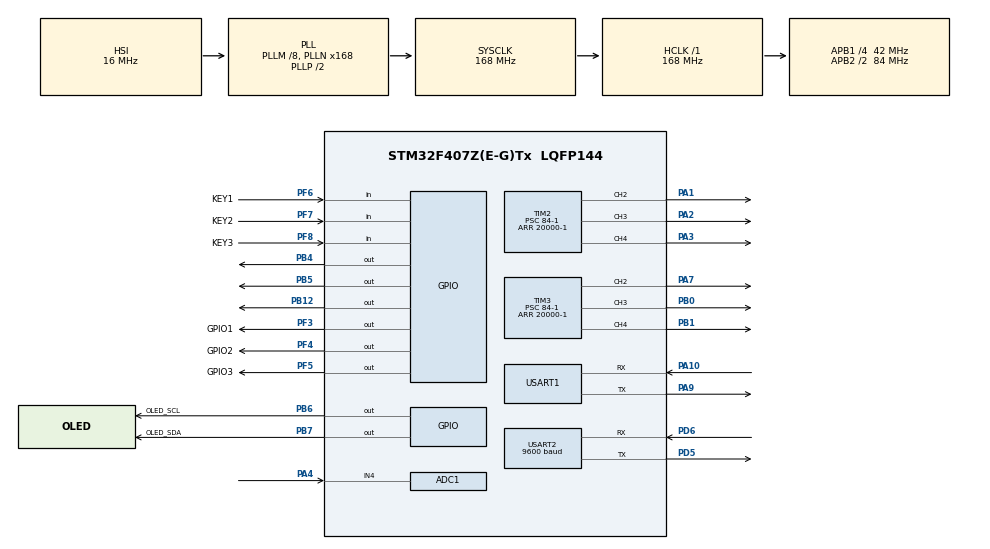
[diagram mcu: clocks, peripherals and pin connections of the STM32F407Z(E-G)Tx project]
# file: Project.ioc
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ADC1.Channel-1\#ChannelRegularConversion=ADC_CHANNEL_4
ADC1.ClockPrescaler=ADC_CLOCK_SYNC_PCLK_DIV4
ADC1.NbrOfConversionFlag=1
ADC1.Rank-1\#ChannelRegularConversion=1
ADC1.SamplingTime-1\#ChannelRegularConversion=ADC_SAMPLETIME_3CYCLES
ADC1.master=1
Mcu.Family=STM32F4
Mcu.Name=STM32F407Z(E-G)Tx
Mcu.Package=LQFP144
NVIC.PriorityGroup=NVIC_PRIORITYGROUP_4
NVIC.TIM6_DAC_IRQn=true\:0\:0\:false\:false\:true\:true\:true\:true
NVIC.USART1_IRQn=true\:0\:0\:false\:false\:true\:true\:true\:true
NVIC.USART2_IRQn=true\:0\:0\:false\:false\:true\:true\:true\:true
PA1.Signal=S_TIM2_CH2
PA10.Mode=Asynchronous
PA10.Signal=USART1_RX
PA13.Mode=Serial_Wire
PA13.Signal=SYS_JTMS-SWDIO
PA14.Mode=Serial_Wire
PA14.Signal=SYS_JTCK-SWCLK
PA2.Signal=S_TIM2_CH3
PA3.Signal=S_TIM2_CH4
PA4.Signal=ADCx_IN4
PA7.Signal=S_TIM3_CH2
PA9.Mode=Asynchronous
PA9.Signal=USART1_TX
PB0.Signal=S_TIM3_CH3
PB1.Signal=S_TIM3_CH4
PB12.Signal=GPIO_Output
PB4.Signal=GPIO_Output
PB5.Signal=GPIO_Output
PB6.GPIO_Label=OLED_SCL
PB6.Signal=GPIO_Output
PB7.GPIO_Label=OLED_SDA
PB7.Signal=GPIO_Output
PD5.Mode=Asynchronous
PD5.Signal=USART2_TX
PD6.Mode=Asynchronous
PD6.Signal=USART2_RX
PF3.GPIO_Label=GPIO1
PF3.Signal=GPIO_Output
PF4.GPIO_Label=GPIO2
PF4.Signal=GPIO_Output
PF5.GPIO_Label=GPIO3
PF5.Signal=GPIO_Output
PF6.GPIO_Label=KEY1
PF6.GPIO_PuPd=GPIO_PULLUP
PF6.Signal=GPIO_Input
PF7.GPIO_Label=KEY2
PF7.GPIO_PuPd=GPIO_PULLUP
PF7.Signal=GPIO_Input
PF8.GPIO_Label=KEY3
PF8.GPIO_PuPd=GPIO_PULLUP
PF8.Signal=GPIO_Input
PH0-OSC_IN.Mode=HSE-External-Oscillator
PH0-OSC_IN.Signal=RCC_OSC_IN
PH1-OSC_OUT.Mode=HSE-External-Oscillator
PH1-OSC_OUT.Signal=RCC_OSC_OUT
ProjectManager.HeapSize=0x200
ProjectManager.StackSize=0x400
ProjectManager.TargetToolchain=MDK-ARM V5.32
RCC.48MHZClocksFreq_Value=84000000
RCC.AHBFreq_Value=168000000
RCC.APB1CLKDivider=RCC_HCLK_DIV4
RCC.APB1Freq_Value=42000000
RCC.APB1TimFreq_Value=84000000
RCC.APB2CLKDivider=RCC_HCLK_DIV2
RCC.APB2Freq_Value=84000000
RCC.APB2TimFreq_Value=168000000
RCC.CortexFreq_Value=168000000
RCC.HCLKFreq_Value=168000000
RCC.HSE_VALUE=25000000
RCC.HSI_VALUE=16000000
RCC.LSE_VALUE=32768
RCC.PLLM=8
RCC.PLLN=168
RCC.SYSCLKFreq_VALUE=168000000
RCC.SYSCLKSource=RCC_SYSCLKSOURCE_PLLCLK
RCC.VCOOutputFreq_Value=336000000
SH.ADCx_IN4.0=ADC1_IN4,IN4
SH.S_TIM2_CH2.0=TIM2_CH2,PWM Generation2 CH2
SH.S_TIM2_CH3.0=TIM2_CH3,PWM Generation3 CH3
SH.S_TIM2_CH4.0=TIM2_CH4,PWM Generation4 CH4
SH.S_TIM3_CH2.0=TIM3_CH2,PWM Generation2 CH2
SH.S_TIM3_CH3.0=TIM3_CH3,PWM Generation3 CH3
SH.S_TIM3_CH4.0=TIM3_CH4,PWM Generation4 CH4
TIM2.Channel-PWM\ Generation2\ CH2=TIM_CHANNEL_2
TIM2.Channel-PWM\ Generation3\ CH3=TIM_CHANNEL_3
TIM2.Channel-PWM\ Generation4\ CH4=TIM_CHANNEL_4
TIM2.Period=20000-1
TIM2.Prescaler=84-1
TIM3.Channel-PWM\ Generation2\ CH2=TIM_CHANNEL_2
TIM3.Channel-PWM\ Generation3\ CH3=TIM_CHANNEL_3
TIM3.Channel-PWM\ Generation4\ CH4=TIM_CHANNEL_4
TIM3.Period=20000-1
TIM3.Prescaler=84-1
TIM6.Period=1000-1
TIM6.Prescaler=168-1
USART1.VirtualMode=VM_ASYNC
USART2.BaudRate=9600
USART2.VirtualMode=VM_ASYNC
VP_TIM2_VS_ClockSourceINT.Mode=Internal
VP_TIM3_VS_ClockSourceINT.Mode=Internal
VP_TIM6_VS_ClockSourceINT.Mode=Enable_Timer
board=custom

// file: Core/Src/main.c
/* USER CODE BEGIN Header */
/**
  ******************************************************************************
  * @file    main.c
  * @brief   主程序入口（初始化外设、启动 TIM6 节拍与 UART 接收，中间件在各模块中运行）
  *
  * 运行逻辑概述：
  *  1) CubeMX 生成的外设初始化（GPIO/TIM/UART 等）
  *  2) 启动 PWM（舵机控制）与 TIM6 1ms 中断（Timer.c）
  *  3) 启动 USART1/USART2 1字节中断接收（UART.c）
  *  4) while(1) 主循环：按键切换模式/触发动作，按 g_data_update_flag 节拍刷新显示
  ******************************************************************************
  */
/* USER CODE END Header */
#include "main.h"
#include "adc.h"
#include "tim.h"
#include "usart.h"
#include "gpio.h"

/* USER CODE BEGIN Includes */
#include "delay.h"
#include "sys.h"
#include "mpu_atk_ms6dsv.h"
#include "Timer.h"
#include "UART.h"
#include "Servo.h"
#include "Key.h"
#include "movement.h"
/* USER CODE END Includes */

/* USER CODE BEGIN PTD */
/* g_data_update_flag：
 * 由 Timer.c 每 10ms 置 1，主循环消费后清零。
 * 这是典型“中断产生节拍 -> 主循环做耗时刷新”的设计模式。
 */
uint8_t g_data_update_flag = 0;
/* USER CODE END PTD */

/* USER CODE BEGIN PD */
#define AUT_MODE        1   // 自动模式
#define MANUAL_MODE     2   // 手动模式
/* USER CODE END PD */

void SystemClock_Config(void);

int main(void)
{

  /* MCU Configuration--------------------------------------------------------*/

  /* Reset of all peripherals, Initializes the Flash interface and the Systick. */
  HAL_Init();

  /* Configure the system clock */
  SystemClock_Config();

  /* Initialize all configured peripherals */
  MX_GPIO_Init();
  MX_USART1_UART_Init();
  MX_TIM2_Init();
  MX_TIM6_Init();
  MX_ADC1_Init();
  MX_TIM3_Init();
  MX_USART2_UART_Init();
  /* USER CODE BEGIN 2 */

  /* ====== 舵机 PWM 初始值：设置为安全中位/停止 ======
   * 教材解释：
   *   上电后，舵机若处于未知脉宽，可能会瞬间乱动。
   *   因此先明确写入：
   *     - 360 底座：STOP
   *     - 270 关节：中位
   *     - 180 夹爪：关闭位（或安全位）
   */

  __HAL_TIM_SET_COMPARE(&htim2, TIM_CHANNEL_2, STOP);

  __HAL_TIM_SET_COMPARE(&htim2, TIM_CHANNEL_3,
                        (uint16_t)(ANGLE_270_CENTER * 2000.0f / 270.0f + 500.0f));

  __HAL_TIM_SET_COMPARE(&htim3, TIM_CHANNEL_2,
                        (uint16_t)(ANGLE_180_CLOSE * 2000.0f / 180.0f + 500.0f));

  /* 启动 TIM6 1ms 中断（Timer.c 的 HAL_TIM_PeriodElapsedCallback 会运行） */
  HAL_TIM_Base_Start_IT(&htim6);

  /* 启动 PWM 输出：舵机才能接收到 PWM 信号 */
  HAL_TIM_PWM_Start(&htim2, TIM_CHANNEL_2);
  HAL_TIM_PWM_Start(&htim2, TIM_CHANNEL_3);

  HAL_TIM_PWM_Start(&htim3, TIM_CHANNEL_2);

  /* PWM 预装载（Preload）相关寄存器设置：
   * 解释：
   *   - OCxPE：输出比较预装载使能（写 CCR 不会立刻生效，而是在更新事件生效）
   *   - ARPE ：自动重装载预装载使能
   * 这样可以避免在 PWM 周期中间更新导致的毛刺/瞬态异常。
   */
  SET_BIT(htim3.Instance->CCMR1, TIM_CCMR1_OC2PE);
  SET_BIT(htim3.Instance->CR1, TIM_CR1_ARPE);

  /* 启动串口 1字节中断接收链路（UART.c 回调里会重挂接） */
  HAL_UART_Receive_IT(&huart1, g_uart1_rx_buf, 1);
  HAL_UART_Receive_IT(&huart2, g_uart2_rx_buf, 1);

  /* 初始化关节到中位（通过 movement 层设置目标；Timer 平滑推进） */
  joint2_reset();
  HAL_Delay(1000);

  /* 启动信息打印（调试用） */
  UART2_Printf("\r\n=================================\r\n");
  UART2_Printf("  STM32 Robot Arm Control v1.0\r\n");
  UART2_Printf("=================================\r\n");
  UART2_Printf("Init done.\r\n");
  UART2_Printf("Press KEY to switch mode (1=Auto, 2=Manual)\r\n");
  UART2_Printf("=================================\r\n\r\n");

  UART2_Printf("Auto startup enabled\r\n");
  //movement_startup();
  UART2_Printf("Startup sequence finished\r\n");

  uint8_t KeyNum = 0;
  /* USER CODE END 2 */

  /* Infinite loop */
  /* USER CODE BEGIN WHILE */
  while (1)
  {
    /* 读取按键编号（Key 模块负责消抖/边沿识别） */
    KeyNum = Key_GetNum();

    /* Key1：切自动模式（视觉帧驱动） */
    if (KeyNum == 1)
    {
      mode_flag = AUT_MODE;
    }

    /* Key2：切手动模式（蓝牙命令驱动） */
    if (KeyNum == 2)
    {
      mode_flag = MANUAL_MODE;
    }

    /* Key3：GPIO 输出翻转（风扇开关功能） */
    if (KeyNum == 3)
    {
			HAL_GPIO_TogglePin(GPIOF, GPIO_PIN_3);
			HAL_GPIO_TogglePin(GPIOF, GPIO_PIN_4);
    }

    /* ====== 10ms 周期刷新：由 TIM6 置位 g_data_update_flag ======
     *   - 中断产生“节拍/事件”
     *   - 主循环消费事件并执行耗时任务（OLED 刷新、串口输出等）
     */
    if (g_data_update_flag == 1)
    {
      g_data_update_flag = 0;

      /* IMU 刷新 */
      // USER_MS6DSV_YAW_ROLL_PITCH();
    }

    /* USER CODE END WHILE */

  }
}

void SystemClock_Config(void)
{
  RCC_OscInitTypeDef RCC_OscInitStruct = {0};
  RCC_ClkInitTypeDef RCC_ClkInitStruct = {0};

  /** Configure the main internal regulator output voltage
  */
  __HAL_RCC_PWR_CLK_ENABLE();
  __HAL_PWR_VOLTAGESCALING_CONFIG(PWR_REGULATOR_VOLTAGE_SCALE1);

  /** Initializes the RCC Oscillators according to the specified parameters
  * in the RCC_OscInitTypeDef structure.
  */
  RCC_OscInitStruct.OscillatorType = RCC_OSCILLATORTYPE_HSI;
  RCC_OscInitStruct.HSIState = RCC_HSI_ON;
  RCC_OscInitStruct.HSICalibrationValue = RCC_HSICALIBRATION_DEFAULT;
  RCC_OscInitStruct.PLL.PLLState = RCC_PLL_ON;
  RCC_OscInitStruct.PLL.PLLSource = RCC_PLLSOURCE_HSI;
  RCC_OscInitStruct.PLL.PLLM = 8;
  RCC_OscInitStruct.PLL.PLLN = 168;
  RCC_OscInitStruct.PLL.PLLP = RCC_PLLP_DIV2;
  RCC_OscInitStruct.PLL.PLLQ = 4;
  if (HAL_RCC_OscConfig(&RCC_OscInitStruct) != HAL_OK)
  {
    Error_Handler();
  }

  /** Initializes the CPU, AHB and APB buses clocks
  */
  RCC_ClkInitStruct.ClockType = RCC_CLOCKTYPE_HCLK|RCC_CLOCKTYPE_SYSCLK
                              |RCC_CLOCKTYPE_PCLK1|RCC_CLOCKTYPE_PCLK2;
  RCC_ClkInitStruct.SYSCLKSource = RCC_SYSCLKSOURCE_PLLCLK;
  RCC_ClkInitStruct.AHBCLKDivider = RCC_SYSCLK_DIV1;
  RCC_ClkInitStruct.APB1CLKDivider = RCC_HCLK_DIV4;
  RCC_ClkInitStruct.APB2CLKDivider = RCC_HCLK_DIV2;

  if (HAL_RCC_ClockConfig(&RCC_ClkInitStruct, FLASH_LATENCY_5) != HAL_OK)
  {
    Error_Handler();
  }
}

void Error_Handler(void)
{
  __disable_irq();
  while (1)
  {
  }
}
